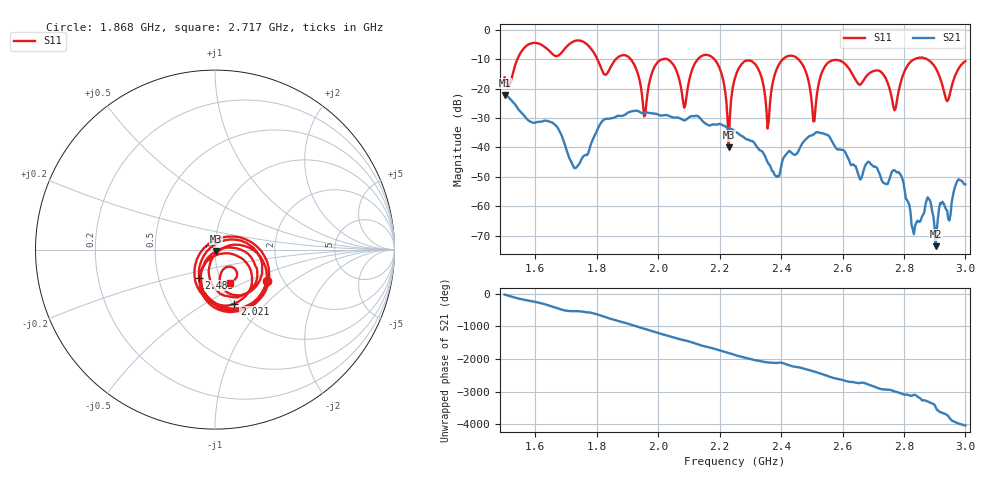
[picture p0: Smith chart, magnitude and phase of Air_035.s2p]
# HZ S RI R 50
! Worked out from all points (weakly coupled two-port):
!   404 points, 1.5 GHz to 3 GHz, reference 50 ohm
!   highest |S21| = -22.12 dB at 1.5 GHz (marker M1); lowest = -73.5 dB at 2.903 GHz (marker M2)
!   lowest |S11| = -40.0 dB at 2.23 GHz (marker M3), VSWR 1.02, Z = 50.7 - j0.768 ohm
!   |S11| at or under -10 dB: 2.183 GHz to 2.406 GHz (223.7 MHz wide, 9.75 % of centre); 2.456 GHz to 2.835 GHz (378.7 MHz wide, 14.3 % of centre); 2.875 GHz to end of sweep (the widest 3 of 7)
!   S12 and S22 are empty: the file has one direction only
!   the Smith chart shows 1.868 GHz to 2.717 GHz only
!   S11 on the Smith chart (normalised r, x): 1.868 GHz: 1.65, -0.65; 2.021 GHz: 1.01, -0.68; 2.483 GHz: 0.80, -0.26; 2.717 GHz: 1.10, -0.42
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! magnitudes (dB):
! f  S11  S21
! 1.5 GHz  -16.2  -22.1
! 1.578 GHz  -5.0  -30.9
! 1.753 GHz  -3.9  -43.5
! 1.868 GHz  -9.4  -29.2
! 1.954 GHz  -29.4  -28.3
! 2.002 GHz  -10.6  -29.0
! 2.021 GHz  -9.9  -29.0
! 2.084 GHz  -26.5  -30.8
! 2.177 GHz  -9.5  -32.2
! 2.23 GHz  -40.0  -33.5
! 2.252 GHz  -15.8  -34.7
! 2.315 GHz  -11.7  -38.8
! 2.356 GHz  -33.6  -45.0
! 2.386 GHz  -13.4  -50.0
! 2.483 GHz  -14.9  -37.0
! 2.501 GHz  -26.1  -35.8
! 2.561 GHz  -10.7  -37.0
! 2.717 GHz  -13.9  -48.2
! 2.751 GHz  -19.1  -51.4
! 2.903 GHz  -13.0  -73.5
! 2.94 GHz  -24.3  -61.3
! 3 GHz  -10.7  -52.5
